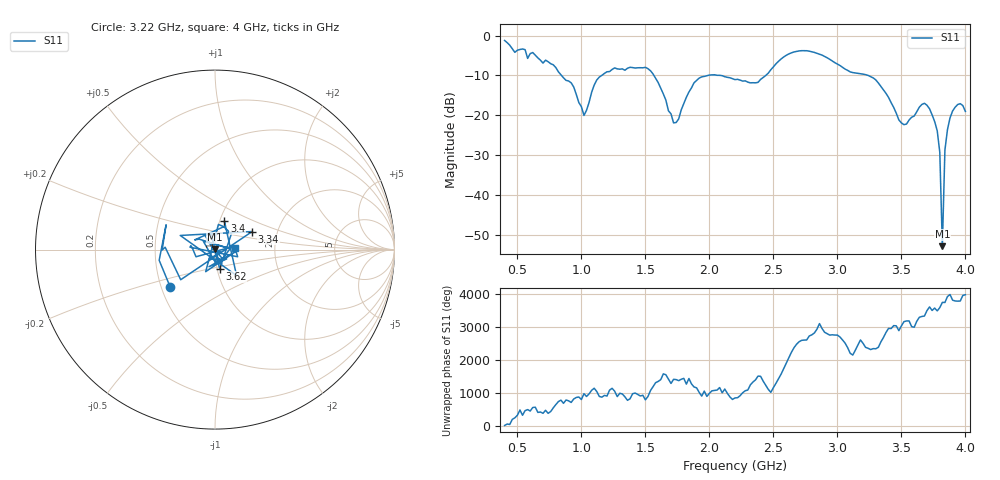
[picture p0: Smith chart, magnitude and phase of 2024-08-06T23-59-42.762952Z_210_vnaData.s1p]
!Created with skrf (http://scikit-rf.org).
# Hz S RI R 50.0
!freq ReS11 ImS11
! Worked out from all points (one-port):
!   181 points, 400 MHz to 4 GHz, reference 50 ohm
!   lowest |S11| = -52.9 dB at 3.82 GHz (marker M1), VSWR 1.00, Z = 49.8 + j0.166 ohm
!   |S11| at or under -10 dB: 1.567 GHz to 1.988 GHz (421.6 MHz wide, 23.7 % of centre); 2.089 GHz to 2.44 GHz (351 MHz wide, 15.5 % of centre); 3.241 GHz to end of sweep (the widest 3 of 4)
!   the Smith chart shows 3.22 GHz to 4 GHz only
!   S11 on the Smith chart (normalised r, x): 3.22 GHz: 0.56, -0.26; 3.34 GHz: 1.48, +0.32; 3.4 GHz: 1.05, +0.34; 3.62 GHz: 1.03, -0.22; 4 GHz: 1.25, +0.02
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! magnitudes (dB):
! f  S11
! 400 MHz  -1.2
! 860 MHz  -10.6
! 940 MHz  -12.9
! 1.02 GHz  -20.0
! 1.12 GHz  -11.1
! 1.3 GHz  -8.4
! 1.54 GHz  -8.8
! 1.72 GHz  -21.9
! 1.76 GHz  -20.9
! 1.92 GHz  -10.7
! 2.2 GHz  -11.0
! 2.38 GHz  -11.7
! 2.66 GHz  -4.1
! 3.1 GHz  -9.1
! 3.22 GHz  -9.8
! 3.34 GHz  -12.8
! 3.4 GHz  -15.5
! 3.5 GHz  -21.9
! 3.56 GHz  -21.2
! 3.62 GHz  -19.1
! 3.7 GHz  -17.5
! 3.78 GHz  -23.9
! 3.8 GHz  -29.3
! 3.82 GHz  -52.9
! 3.84 GHz  -28.7
! 3.86 GHz  -23.6
! 3.94 GHz  -17.3
! 4 GHz  -19.0
